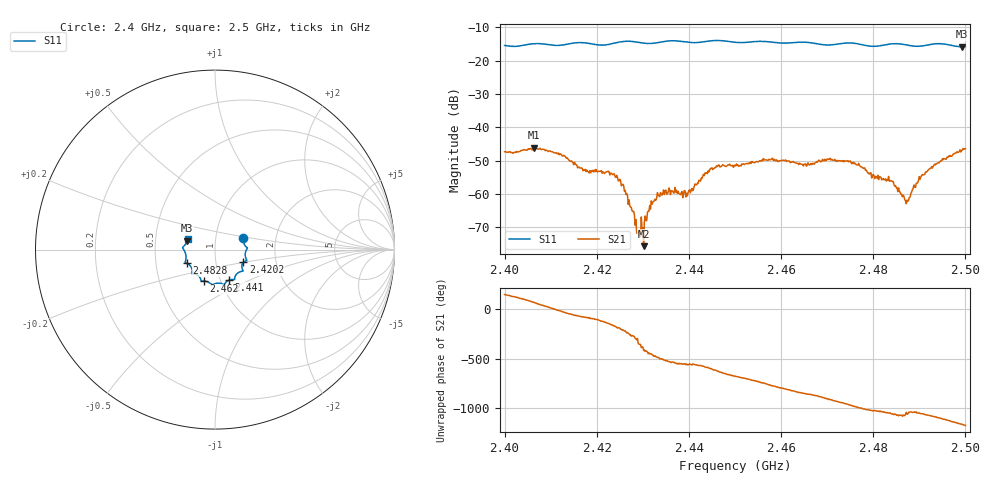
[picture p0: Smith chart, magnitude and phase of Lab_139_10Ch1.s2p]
# Hz S RI R 50
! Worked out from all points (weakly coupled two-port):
!   601 points, 2.4 GHz to 2.5 GHz, reference 50 ohm
!   highest |S21| = -46.05 dB at 2.4063 GHz (marker M1); lowest = -75.6 dB at 2.4302 GHz (marker M2)
!   lowest |S11| = -15.8 dB at 2.4992 GHz (marker M3), VSWR 1.39, Z = 36.5 + j3.66 ohm
!   |S11| at or under -10 dB: start of sweep to end of sweep
!   S12 and S22 are empty: the file has one direction only
!   S11 on the Smith chart (normalised r, x): 2.4 GHz: 1.36, +0.17; 2.4202 GHz: 1.36, -0.20; 2.441 GHz: 1.10, -0.39; 2.462 GHz: 0.84, -0.30; 2.4828 GHz: 0.72, -0.11; 2.5 GHz: 0.73, +0.09
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2.4e9  0.158 0.0623  -0.0038 0.00206  0 0  0 0
2.406333e9  0.18 0.0107  0.00144 0.00477  0 0  0 0
2.4125e9  0.1687 -0.0344  0.00347 -0.00141  0 0  0 0
2.416667e9  0.1772 -0.0608  0.00062 -0.00239  0 0  0 0
2.420167e9  0.1582 -0.0712  -0.000523 -0.00208  0 0  0 0
2.424667e9  0.1533 -0.1116  -0.00158 7.96e-05  0 0  0 0
2.426167e9  0.1566 -0.1181  -0.000908 0.000685  0 0  0 0
2.429e9  0.1456 -0.1212  0.000254 7.88e-05  0 0  0 0
2.430167e9  0.1347 -0.1255  9.49e-05 -0.000135  0 0  0 0
2.433333e9  0.1113 -0.1512  -0.000562 -0.000764  0 0  0 0
2.441e9  0.0784 -0.1697  -0.00114 0.000322  0 0  0 0
2.445e9  0.0523 -0.1931  -0.00105 0.00224  0 0  0 0
2.45e9  0.0282 -0.1876  0.002 0.00181  0 0  0 0
2.462e9  -0.0606 -0.1755  -0.00039 -0.00293  0 0  0 0
2.466667e9  -0.0787 -0.1683  -0.00224 -0.0016  0 0  0 0
2.4745e9  -0.1271 -0.1346  -0.00149 0.00281  0 0  0 0
2.482833e9  -0.1574 -0.0765  0.00134 0.000826  0 0  0 0
2.483333e9  -0.1604 -0.0752  0.00161 0.000892  0 0  0 0
2.487333e9  -0.1627 -0.0569  0.000765 0.000277  0 0  0 0
2.4905e9  -0.1653 -0.0171  0.00175 0.00074  0 0  0 0
2.499167e9  -0.1545 0.0489  0.000623 -0.00449  0 0  0 0
2.5e9  -0.1517 0.0609  -0.00055 -0.00475  0 0  0 0
